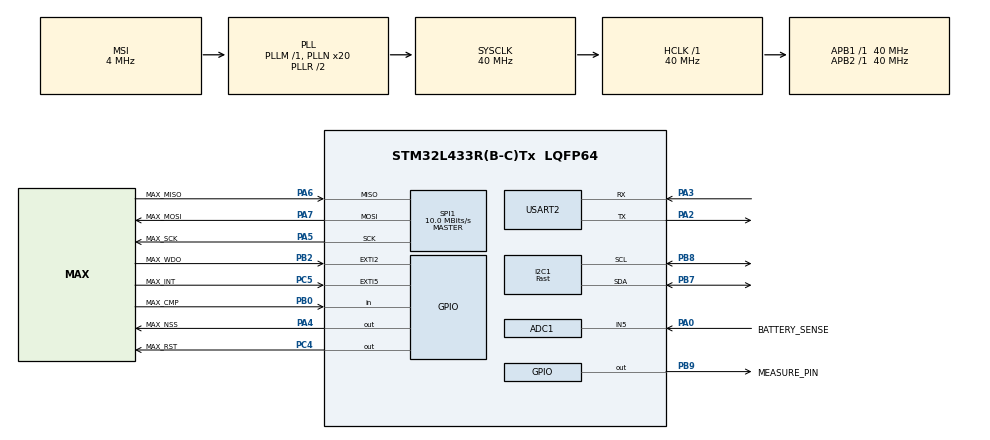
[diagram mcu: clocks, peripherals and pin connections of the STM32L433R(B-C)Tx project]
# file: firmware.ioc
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ADC1.Channel-0\#ChannelRegularConversion=ADC_CHANNEL_5
ADC1.NbrOfConversionFlag=1
ADC1.OffsetNumber-0\#ChannelRegularConversion=ADC_OFFSET_NONE
ADC1.Rank-0\#ChannelRegularConversion=1
ADC1.SamplingTime-0\#ChannelRegularConversion=ADC_SAMPLETIME_2CYCLES_5
ADC1.master=1
Dma.Request0=SPI1_RX
Dma.Request1=SPI1_TX
Dma.SPI1_RX.0.Direction=DMA_PERIPH_TO_MEMORY
Dma.SPI1_RX.0.Instance=DMA1_Channel2
Dma.SPI1_RX.0.MemDataAlignment=DMA_MDATAALIGN_BYTE
Dma.SPI1_RX.0.MemInc=DMA_MINC_ENABLE
Dma.SPI1_RX.0.Mode=DMA_NORMAL
Dma.SPI1_RX.0.PeriphDataAlignment=DMA_PDATAALIGN_BYTE
Dma.SPI1_RX.0.PeriphInc=DMA_PINC_DISABLE
Dma.SPI1_RX.0.Priority=DMA_PRIORITY_HIGH
Dma.SPI1_TX.1.Direction=DMA_MEMORY_TO_PERIPH
Dma.SPI1_TX.1.Instance=DMA1_Channel3
Dma.SPI1_TX.1.MemDataAlignment=DMA_MDATAALIGN_BYTE
Dma.SPI1_TX.1.MemInc=DMA_MINC_ENABLE
Dma.SPI1_TX.1.Mode=DMA_NORMAL
Dma.SPI1_TX.1.PeriphDataAlignment=DMA_PDATAALIGN_BYTE
Dma.SPI1_TX.1.PeriphInc=DMA_PINC_DISABLE
Dma.SPI1_TX.1.Priority=DMA_PRIORITY_HIGH
I2C1.I2C_Speed_Mode=I2C_Fast
I2C1.Timing=0x0070133F
Mcu.Family=STM32L4
Mcu.Name=STM32L433R(B-C)Tx
Mcu.Package=LQFP64
NVIC.ADC1_IRQn=true\:6\:0\:true\:false\:true\:true\:true\:true
NVIC.DMA1_Channel2_IRQn=true\:0\:0\:false\:false\:true\:false\:true\:true
NVIC.DMA1_Channel3_IRQn=true\:0\:0\:false\:false\:true\:false\:true\:true
NVIC.EXTI2_IRQn=true\:2\:0\:true\:false\:true\:true\:true\:true
NVIC.EXTI9_5_IRQn=true\:2\:0\:true\:false\:true\:true\:true\:true
NVIC.I2C1_ER_IRQn=true\:2\:0\:true\:false\:true\:true\:true\:true
NVIC.I2C1_EV_IRQn=true\:4\:0\:true\:false\:true\:true\:true\:true
NVIC.PriorityGroup=NVIC_PRIORITYGROUP_4
NVIC.RTC_Alarm_IRQn=true\:5\:0\:true\:false\:true\:true\:true\:true
PA0.GPIO_Label=BATTERY_SENSE
PA0.Signal=ADCx_IN5
PA13\ (JTMS-SWDIO).Mode=Serial_Wire
PA13\ (JTMS-SWDIO).Signal=SYS_JTMS-SWDIO
PA14\ (JTCK-SWCLK).Mode=Serial_Wire
PA14\ (JTCK-SWCLK).Signal=SYS_JTCK-SWCLK
PA2.Mode=Asynchronous
PA2.Signal=USART2_TX
PA3.Mode=Asynchronous
PA3.Signal=USART2_RX
PA4.GPIO_Label=MAX_NSS
PA4.PinState=GPIO_PIN_SET
PA4.Signal=GPIO_Output
PA5.GPIO_Label=MAX_SCK
PA5.Mode=Full_Duplex_Master
PA5.Signal=SPI1_SCK
PA6.GPIO_Label=MAX_MISO
PA6.Mode=Full_Duplex_Master
PA6.Signal=SPI1_MISO
PA7.GPIO_Label=MAX_MOSI
PA7.Mode=Full_Duplex_Master
PA7.Signal=SPI1_MOSI
PB0.GPIO_Label=MAX_CMP
PB0.Signal=GPIO_Input
PB2.GPIO_Label=MAX_WDO
PB2.GPIO_ModeDefaultEXTI=GPIO_MODE_IT_FALLING
PB2.GPIO_PuPd=GPIO_PULLUP
PB2.Signal=GPXTI2
PB7.Mode=I2C
PB7.Signal=I2C1_SDA
PB8.Mode=I2C
PB8.Signal=I2C1_SCL
PB9.GPIO_Label=MEASURE_PIN
PB9.Signal=GPIO_Output
PC14-OSC32_IN\ (PC14).Mode=LSE-External-Oscillator
PC14-OSC32_IN\ (PC14).Signal=RCC_OSC32_IN
PC15-OSC32_OUT\ (PC15).Mode=LSE-External-Oscillator
PC15-OSC32_OUT\ (PC15).Signal=RCC_OSC32_OUT
PC4.GPIO_Label=MAX_RST
PC4.PinState=GPIO_PIN_SET
PC4.Signal=GPIO_Output
PC5.GPIO_Label=MAX_INT
PC5.GPIO_ModeDefaultEXTI=GPIO_MODE_IT_FALLING
PC5.GPIO_PuPd=GPIO_PULLUP
PC5.Signal=GPXTI5
ProjectManager.HeapSize=0x200
ProjectManager.StackSize=0x400
ProjectManager.TargetToolchain=CMake
RCC.ADCFreq_Value=32000000
RCC.AHBFreq_Value=40000000
RCC.APB1Freq_Value=40000000
RCC.APB1TimFreq_Value=40000000
RCC.APB2Freq_Value=40000000
RCC.APB2TimFreq_Value=40000000
RCC.CortexFreq_Value=40000000
RCC.HCLKFreq_Value=40000000
RCC.HSE_VALUE=8000000
RCC.HSI48_VALUE=48000000
RCC.HSI_VALUE=16000000
RCC.MSI_VALUE=4000000
RCC.PLLN=20
RCC.PLLSAI1N=16
RCC.RTCClockSelection=RCC_RTCCLKSOURCE_LSE
RCC.SYSCLKFreq_VALUE=40000000
RCC.SYSCLKSource=RCC_SYSCLKSOURCE_PLLCLK
RCC.USBFreq_Value=32000000
RCC.VCOOutputFreq_Value=80000000
RTC.Alarm-Alarm\ A=RTC_ALARM_A
SH.ADCx_IN5.0=ADC1_IN5,IN5-Single-Ended
SPI1.BaudRatePrescaler=SPI_BAUDRATEPRESCALER_4
SPI1.CLKPhase=SPI_PHASE_2EDGE
SPI1.CalculateBaudRate=10.0 MBits/s
SPI1.DataSize=SPI_DATASIZE_8BIT
SPI1.Direction=SPI_DIRECTION_2LINES
SPI1.Mode=SPI_MODE_MASTER
SPI1.VirtualType=VM_MASTER
USART2.VirtualMode-Asynchronous=VM_ASYNC
VP_RTC_VS_RTC_Activate.Mode=RTC_Enabled
VP_RTC_VS_RTC_Alarm_A_Intern.Mode=Alarm A
VP_RTC_VS_RTC_Calendar.Mode=RTC_Calendar
board=custom

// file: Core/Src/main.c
/* USER CODE BEGIN Header */
/**
  ******************************************************************************
  * @file           : main.c
  * @brief          : Main program body
  ******************************************************************************
  * @attention
  *
  * Copyright (c) 2026 STMicroelectronics.
  * All rights reserved.
  *
  * This software is licensed under terms that can be found in the LICENSE file
  * in the root directory of this software component.
  * If no LICENSE file comes with this software, it is provided AS-IS.
  *
  ******************************************************************************
  */
/* USER CODE END Header */
#include "main.h"

/* USER CODE BEGIN Includes */
#include <stdio.h>
#include <string.h>

#include "app_max35103.h"

#ifdef FIRMWARE_BUILD_TESTS_FM24CL04B
#include "fram_test.h"
#endif

#ifdef FIRMWARE_BUILD_TESTS_ZSSC3241
#include "zssc3241_test.h"
#endif
/* USER CODE END Includes */

ADC_HandleTypeDef hadc1;

I2C_HandleTypeDef hi2c1;

RTC_HandleTypeDef hrtc;

SPI_HandleTypeDef hspi1;
DMA_HandleTypeDef hdma_spi1_rx;
DMA_HandleTypeDef hdma_spi1_tx;

UART_HandleTypeDef huart2;

/* USER CODE BEGIN PV */
#ifdef FIRMWARE_BUILD_TESTS_ZSSC3241
static const Zssc3241TestConfig g_zssc3241_test_config = {
    .hi2c = &hi2c1,
    .address_7bit = 0x28U,
    .reset_port = NULL,
    .reset_pin = 0U,
    .reset_available = false,
    .eoc_available = false,
    .run_full_nvm_dump = false,
    .run_cyclic_test = false,
    .cyclic_settle_ms = 0U,
    .pressure_mapping_enabled = false,
    .pressure_code_min = 0U,
    .pressure_code_max = 0U,
    .pressure_min_mbar = 0,
    .pressure_max_mbar = 0,
    .driver_config = NULL,
};
#endif
/* USER CODE END PV */

void SystemClock_Config(void);
static void MX_GPIO_Init(void);
static void MX_DMA_Init(void);
static void MX_USART2_UART_Init(void);
static void MX_ADC1_Init(void);
static void MX_I2C1_Init(void);
static void MX_RTC_Init(void);
static void MX_SPI1_Init(void);
/* USER CODE BEGIN PFP */
uint32_t ADC_Read_Voltage(void);
/* USER CODE END PFP */

int main(void)
{

  /* MCU Configuration--------------------------------------------------------*/

  /* Reset of all peripherals, Initializes the Flash interface and the Systick. */
  HAL_Init();

  /* Configure the system clock */
  SystemClock_Config();

  /* Initialize all configured peripherals */
  MX_GPIO_Init();
  MX_DMA_Init();
  MX_USART2_UART_Init();
  MX_ADC1_Init();
  MX_I2C1_Init();
  MX_RTC_Init();
  MX_SPI1_Init();
  /* USER CODE BEGIN 2 */
/* Run FRAM hardware tests once at startup */
#ifdef FIRMWARE_BUILD_TESTS_FM24CL04B
  FRAM_Test_RunAll();
#endif /* FIRMWARE_BUILD_TESTS_FM24CL04B */

  AppMax35103_Init();

#ifdef FIRMWARE_BUILD_TESTS_ZSSC3241
  ZSSC3241_Test_RunAll(&g_zssc3241_test_config);
#endif /* FIRMWARE_BUILD_TESTS_ZSSC3241 */
  /* USER CODE END 2 */

  /* Infinite loop */
  /* USER CODE BEGIN WHILE */
while (1)
  {
    AppMax35103_Run();

    /* Other application services can be polled here without a 1-second block. */
    /* USER CODE END WHILE */

  }
}

void SystemClock_Config(void)
{
  RCC_OscInitTypeDef RCC_OscInitStruct = {0};
  RCC_ClkInitTypeDef RCC_ClkInitStruct = {0};

  /** Configure the main internal regulator output voltage
  */
  if (HAL_PWREx_ControlVoltageScaling(PWR_REGULATOR_VOLTAGE_SCALE1) != HAL_OK)
  {
    Error_Handler();
  }

  /** Configure LSE Drive Capability
  */
  HAL_PWR_EnableBkUpAccess();
  __HAL_RCC_LSEDRIVE_CONFIG(RCC_LSEDRIVE_LOW);

  /** Initializes the RCC Oscillators according to the specified parameters
  * in the RCC_OscInitTypeDef structure.
  */
  RCC_OscInitStruct.OscillatorType = RCC_OSCILLATORTYPE_LSE|RCC_OSCILLATORTYPE_MSI;
  RCC_OscInitStruct.LSEState = RCC_LSE_ON;
  RCC_OscInitStruct.MSIState = RCC_MSI_ON;
  RCC_OscInitStruct.MSICalibrationValue = 0;
  RCC_OscInitStruct.MSIClockRange = RCC_MSIRANGE_6;
  RCC_OscInitStruct.PLL.PLLState = RCC_PLL_ON;
  RCC_OscInitStruct.PLL.PLLSource = RCC_PLLSOURCE_MSI;
  RCC_OscInitStruct.PLL.PLLM = 1;
  RCC_OscInitStruct.PLL.PLLN = 20;
  RCC_OscInitStruct.PLL.PLLP = RCC_PLLP_DIV7;
  RCC_OscInitStruct.PLL.PLLQ = RCC_PLLQ_DIV2;
  RCC_OscInitStruct.PLL.PLLR = RCC_PLLR_DIV2;
  if (HAL_RCC_OscConfig(&RCC_OscInitStruct) != HAL_OK)
  {
    Error_Handler();
  }

  /** Initializes the CPU, AHB and APB buses clocks
  */
  RCC_ClkInitStruct.ClockType = RCC_CLOCKTYPE_HCLK|RCC_CLOCKTYPE_SYSCLK
                              |RCC_CLOCKTYPE_PCLK1|RCC_CLOCKTYPE_PCLK2;
  RCC_ClkInitStruct.SYSCLKSource = RCC_SYSCLKSOURCE_PLLCLK;
  RCC_ClkInitStruct.AHBCLKDivider = RCC_SYSCLK_DIV1;
  RCC_ClkInitStruct.APB1CLKDivider = RCC_HCLK_DIV1;
  RCC_ClkInitStruct.APB2CLKDivider = RCC_HCLK_DIV1;

  if (HAL_RCC_ClockConfig(&RCC_ClkInitStruct, FLASH_LATENCY_2) != HAL_OK)
  {
    Error_Handler();
  }

  /** Enable MSI Auto calibration
  */
  HAL_RCCEx_EnableMSIPLLMode();
}

static void MX_ADC1_Init(void)
{

  ADC_ChannelConfTypeDef sConfig = {0};

  /** Common config
  */
  hadc1.Instance = ADC1;
  hadc1.Init.ClockPrescaler = ADC_CLOCK_ASYNC_DIV1;
  hadc1.Init.Resolution = ADC_RESOLUTION_12B;
  hadc1.Init.DataAlign = ADC_DATAALIGN_RIGHT;
  hadc1.Init.ScanConvMode = ADC_SCAN_DISABLE;
  hadc1.Init.EOCSelection = ADC_EOC_SINGLE_CONV;
  hadc1.Init.LowPowerAutoWait = DISABLE;
  hadc1.Init.ContinuousConvMode = DISABLE;
  hadc1.Init.NbrOfConversion = 1;
  hadc1.Init.DiscontinuousConvMode = DISABLE;
  hadc1.Init.ExternalTrigConv = ADC_SOFTWARE_START;
  hadc1.Init.ExternalTrigConvEdge = ADC_EXTERNALTRIGCONVEDGE_NONE;
  hadc1.Init.DMAContinuousRequests = DISABLE;
  hadc1.Init.Overrun = ADC_OVR_DATA_PRESERVED;
  hadc1.Init.OversamplingMode = DISABLE;
  if (HAL_ADC_Init(&hadc1) != HAL_OK)
  {
    Error_Handler();
  }

  /** Configure Regular Channel
  */
  sConfig.Channel = ADC_CHANNEL_5;
  sConfig.Rank = ADC_REGULAR_RANK_1;
  sConfig.SamplingTime = ADC_SAMPLETIME_2CYCLES_5;
  sConfig.SingleDiff = ADC_SINGLE_ENDED;
  sConfig.OffsetNumber = ADC_OFFSET_NONE;
  sConfig.Offset = 0;
  if (HAL_ADC_ConfigChannel(&hadc1, &sConfig) != HAL_OK)
  {
    Error_Handler();
  }

}

static void MX_I2C1_Init(void)
{

  hi2c1.Instance = I2C1;
  hi2c1.Init.Timing = 0x0070133F;
  hi2c1.Init.OwnAddress1 = 0;
  hi2c1.Init.AddressingMode = I2C_ADDRESSINGMODE_7BIT;
  hi2c1.Init.DualAddressMode = I2C_DUALADDRESS_DISABLE;
  hi2c1.Init.OwnAddress2 = 0;
  hi2c1.Init.OwnAddress2Masks = I2C_OA2_NOMASK;
  hi2c1.Init.GeneralCallMode = I2C_GENERALCALL_DISABLE;
  hi2c1.Init.NoStretchMode = I2C_NOSTRETCH_DISABLE;
  if (HAL_I2C_Init(&hi2c1) != HAL_OK)
  {
    Error_Handler();
  }

  /** Configure Analogue filter
  */
  if (HAL_I2CEx_ConfigAnalogFilter(&hi2c1, I2C_ANALOGFILTER_ENABLE) != HAL_OK)
  {
    Error_Handler();
  }

  /** Configure Digital filter
  */
  if (HAL_I2CEx_ConfigDigitalFilter(&hi2c1, 0) != HAL_OK)
  {
    Error_Handler();
  }

}

static void MX_RTC_Init(void)
{

  RTC_TimeTypeDef sTime = {0};
  RTC_DateTypeDef sDate = {0};
  RTC_AlarmTypeDef sAlarm = {0};

  /** Initialize RTC Only
  */
  hrtc.Instance = RTC;
  hrtc.Init.HourFormat = RTC_HOURFORMAT_24;
  hrtc.Init.AsynchPrediv = 127;
  hrtc.Init.SynchPrediv = 255;
  hrtc.Init.OutPut = RTC_OUTPUT_DISABLE;
  hrtc.Init.OutPutRemap = RTC_OUTPUT_REMAP_NONE;
  hrtc.Init.OutPutPolarity = RTC_OUTPUT_POLARITY_HIGH;
  hrtc.Init.OutPutType = RTC_OUTPUT_TYPE_OPENDRAIN;
  if (HAL_RTC_Init(&hrtc) != HAL_OK)
  {
    Error_Handler();
  }

  /** Initialize RTC and set the Time and Date
  */
  sTime.Hours = 0x0;
  sTime.Minutes = 0x0;
  sTime.Seconds = 0x0;
  sTime.DayLightSaving = RTC_DAYLIGHTSAVING_NONE;
  sTime.StoreOperation = RTC_STOREOPERATION_RESET;
  if (HAL_RTC_SetTime(&hrtc, &sTime, RTC_FORMAT_BCD) != HAL_OK)
  {
    Error_Handler();
  }
  sDate.WeekDay = RTC_WEEKDAY_MONDAY;
  sDate.Month = RTC_MONTH_JANUARY;
  sDate.Date = 0x1;
  sDate.Year = 0x0;

  if (HAL_RTC_SetDate(&hrtc, &sDate, RTC_FORMAT_BCD) != HAL_OK)
  {
    Error_Handler();
  }

  /** Enable the Alarm A
  */
  sAlarm.AlarmTime.Hours = 0x0;
  sAlarm.AlarmTime.Minutes = 0x0;
  sAlarm.AlarmTime.Seconds = 0x0;
  sAlarm.AlarmTime.SubSeconds = 0x0;
  sAlarm.AlarmTime.DayLightSaving = RTC_DAYLIGHTSAVING_NONE;
  sAlarm.AlarmTime.StoreOperation = RTC_STOREOPERATION_RESET;
  sAlarm.AlarmMask = RTC_ALARMMASK_NONE;
  sAlarm.AlarmSubSecondMask = RTC_ALARMSUBSECONDMASK_ALL;
  sAlarm.AlarmDateWeekDaySel = RTC_ALARMDATEWEEKDAYSEL_DATE;
  sAlarm.AlarmDateWeekDay = 0x1;
  sAlarm.Alarm = RTC_ALARM_A;
  if (HAL_RTC_SetAlarm_IT(&hrtc, &sAlarm, RTC_FORMAT_BCD) != HAL_OK)
  {
    Error_Handler();
  }

}

static void MX_SPI1_Init(void)
{

  /* SPI1 parameter configuration*/
  hspi1.Instance = SPI1;
  hspi1.Init.Mode = SPI_MODE_MASTER;
  hspi1.Init.Direction = SPI_DIRECTION_2LINES;
  hspi1.Init.DataSize = SPI_DATASIZE_8BIT;
  hspi1.Init.CLKPolarity = SPI_POLARITY_LOW;
  hspi1.Init.CLKPhase = SPI_PHASE_2EDGE;
  hspi1.Init.NSS = SPI_NSS_SOFT;
  hspi1.Init.BaudRatePrescaler = SPI_BAUDRATEPRESCALER_4;
  hspi1.Init.FirstBit = SPI_FIRSTBIT_MSB;
  hspi1.Init.TIMode = SPI_TIMODE_DISABLE;
  hspi1.Init.CRCCalculation = SPI_CRCCALCULATION_DISABLE;
  hspi1.Init.CRCPolynomial = 7;
  hspi1.Init.CRCLength = SPI_CRC_LENGTH_DATASIZE;
  hspi1.Init.NSSPMode = SPI_NSS_PULSE_DISABLE;
  if (HAL_SPI_Init(&hspi1) != HAL_OK)
  {
    Error_Handler();
  }

}

static void MX_USART2_UART_Init(void)
{

  huart2.Instance = USART2;
  huart2.Init.BaudRate = 115200;
  huart2.Init.WordLength = UART_WORDLENGTH_8B;
  huart2.Init.StopBits = UART_STOPBITS_1;
  huart2.Init.Parity = UART_PARITY_NONE;
  huart2.Init.Mode = UART_MODE_TX_RX;
  huart2.Init.HwFlowCtl = UART_HWCONTROL_NONE;
  huart2.Init.OverSampling = UART_OVERSAMPLING_16;
  huart2.Init.OneBitSampling = UART_ONE_BIT_SAMPLE_DISABLE;
  huart2.AdvancedInit.AdvFeatureInit = UART_ADVFEATURE_NO_INIT;
  if (HAL_UART_Init(&huart2) != HAL_OK)
  {
    Error_Handler();
  }

}

static void MX_DMA_Init(void)
{

  /* DMA controller clock enable */
  __HAL_RCC_DMA1_CLK_ENABLE();

  /* DMA interrupt init */
  /* DMA1_Channel2_IRQn interrupt configuration */
  HAL_NVIC_SetPriority(DMA1_Channel2_IRQn, 0, 0);
  HAL_NVIC_EnableIRQ(DMA1_Channel2_IRQn);
  /* DMA1_Channel3_IRQn interrupt configuration */
  HAL_NVIC_SetPriority(DMA1_Channel3_IRQn, 0, 0);
  HAL_NVIC_EnableIRQ(DMA1_Channel3_IRQn);

}

static void MX_GPIO_Init(void)
{
  GPIO_InitTypeDef GPIO_InitStruct = {0};

  /* GPIO Ports Clock Enable */
  __HAL_RCC_GPIOC_CLK_ENABLE();
  __HAL_RCC_GPIOA_CLK_ENABLE();
  __HAL_RCC_GPIOB_CLK_ENABLE();

  /*Configure GPIO pin Output Level */
  HAL_GPIO_WritePin(MAX_NSS_GPIO_Port, MAX_NSS_Pin, GPIO_PIN_SET);

  /*Configure GPIO pin Output Level */
  HAL_GPIO_WritePin(MAX_RST_GPIO_Port, MAX_RST_Pin, GPIO_PIN_SET);

  /*Configure GPIO pin Output Level */
  HAL_GPIO_WritePin(MEASURE_PIN_GPIO_Port, MEASURE_PIN_Pin, GPIO_PIN_RESET);

  /*Configure GPIO pin : MAX_NSS_Pin */
  GPIO_InitStruct.Pin = MAX_NSS_Pin;
  GPIO_InitStruct.Mode = GPIO_MODE_OUTPUT_PP;
  GPIO_InitStruct.Pull = GPIO_NOPULL;
  GPIO_InitStruct.Speed = GPIO_SPEED_FREQ_LOW;
  HAL_GPIO_Init(MAX_NSS_GPIO_Port, &GPIO_InitStruct);

  /*Configure GPIO pin : MAX_RST_Pin */
  GPIO_InitStruct.Pin = MAX_RST_Pin;
  GPIO_InitStruct.Mode = GPIO_MODE_OUTPUT_PP;
  GPIO_InitStruct.Pull = GPIO_NOPULL;
  GPIO_InitStruct.Speed = GPIO_SPEED_FREQ_LOW;
  HAL_GPIO_Init(MAX_RST_GPIO_Port, &GPIO_InitStruct);

  /*Configure GPIO pin : MAX_INT_Pin */
  GPIO_InitStruct.Pin = MAX_INT_Pin;
  GPIO_InitStruct.Mode = GPIO_MODE_IT_FALLING;
  GPIO_InitStruct.Pull = GPIO_PULLUP;
  HAL_GPIO_Init(MAX_INT_GPIO_Port, &GPIO_InitStruct);

  /*Configure GPIO pin : MAX_CMP_Pin */
  GPIO_InitStruct.Pin = MAX_CMP_Pin;
  GPIO_InitStruct.Mode = GPIO_MODE_INPUT;
  GPIO_InitStruct.Pull = GPIO_NOPULL;
  HAL_GPIO_Init(MAX_CMP_GPIO_Port, &GPIO_InitStruct);

  /*Configure GPIO pin : MAX_WDO_Pin */
  GPIO_InitStruct.Pin = MAX_WDO_Pin;
  GPIO_InitStruct.Mode = GPIO_MODE_IT_FALLING;
  GPIO_InitStruct.Pull = GPIO_PULLUP;
  HAL_GPIO_Init(MAX_WDO_GPIO_Port, &GPIO_InitStruct);

  /*Configure GPIO pin : MEASURE_PIN_Pin */
  GPIO_InitStruct.Pin = MEASURE_PIN_Pin;
  GPIO_InitStruct.Mode = GPIO_MODE_OUTPUT_PP;
  GPIO_InitStruct.Pull = GPIO_NOPULL;
  GPIO_InitStruct.Speed = GPIO_SPEED_FREQ_LOW;
  HAL_GPIO_Init(MEASURE_PIN_GPIO_Port, &GPIO_InitStruct);

  /* EXTI interrupt init*/
  HAL_NVIC_SetPriority(EXTI2_IRQn, 2, 0);
  HAL_NVIC_EnableIRQ(EXTI2_IRQn);

  HAL_NVIC_SetPriority(EXTI9_5_IRQn, 2, 0);
  HAL_NVIC_EnableIRQ(EXTI9_5_IRQn);

}

/* USER CODE BEGIN 4 */
uint32_t ADC_Read_Voltage(void)
{
    uint32_t adc_value = 0U;

    if (HAL_ADC_Start(&hadc1) != HAL_OK)
    {
        return 0U;
    }

    if (HAL_ADC_PollForConversion(&hadc1, 100U) == HAL_OK)
    {
        adc_value = HAL_ADC_GetValue(&hadc1);
    }

    (void)HAL_ADC_Stop(&hadc1);
    return adc_value;
}
/* USER CODE END 4 */

void Error_Handler(void)
{
  __disable_irq();
  while (1)
  {
  }
}
